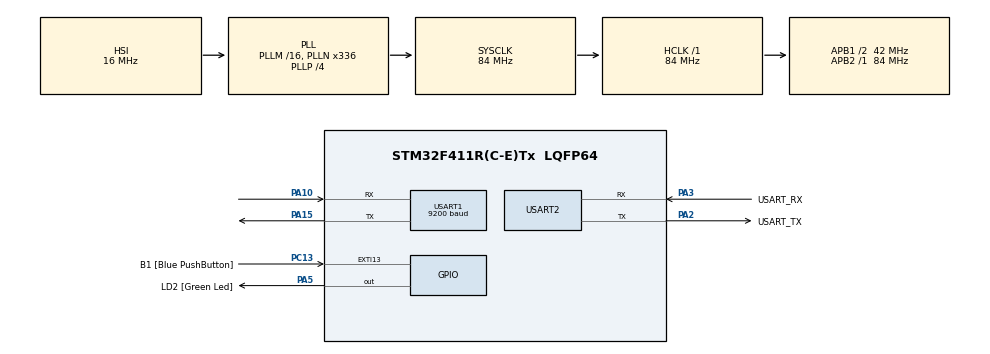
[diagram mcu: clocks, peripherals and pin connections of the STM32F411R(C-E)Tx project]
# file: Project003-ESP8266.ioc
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Mcu.Family=STM32F4
Mcu.Name=STM32F411R(C-E)Tx
Mcu.Package=LQFP64
NVIC.PriorityGroup=NVIC_PRIORITYGROUP_0
NVIC.USART1_IRQn=true\:0\:0\:false\:false\:true\:true\:true\:true
NVIC.USART2_IRQn=true\:0\:0\:false\:false\:true\:true\:true\:true
PA10.Mode=Asynchronous
PA10.Signal=USART1_RX
PA13.GPIO_Label=TMS
PA13.Mode=Serial_Wire
PA13.Signal=SYS_JTMS-SWDIO
PA14.GPIO_Label=TCK
PA14.Mode=Serial_Wire
PA14.Signal=SYS_JTCK-SWCLK
PA15.Mode=Asynchronous
PA15.Signal=USART1_TX
PA2.GPIO_Label=USART_TX
PA2.Mode=Asynchronous
PA2.Signal=USART2_TX
PA3.GPIO_Label=USART_RX
PA3.Mode=Asynchronous
PA3.Signal=USART2_RX
PA5.GPIO_Label=LD2 [Green Led]
PA5.Signal=GPIO_Output
PB3.GPIO_Label=SWO
PB3.Signal=SYS_JTDO-SWO
PC13-ANTI_TAMP.GPIO_Label=B1 [Blue PushButton]
PC13-ANTI_TAMP.GPIO_ModeDefaultEXTI=GPIO_MODE_IT_FALLING
PC13-ANTI_TAMP.Signal=GPXTI13
PC14-OSC32_IN.Mode=LSE-External-Oscillator
PC14-OSC32_IN.Signal=RCC_OSC32_IN
PC15-OSC32_OUT.Mode=LSE-External-Oscillator
PC15-OSC32_OUT.Signal=RCC_OSC32_OUT
PH0\ -\ OSC_IN.Mode=HSE-External-Clock-Source
PH0\ -\ OSC_IN.Signal=RCC_OSC_IN
PH1\ -\ OSC_OUT.Mode=HSE-External-Clock-Source
PH1\ -\ OSC_OUT.Signal=RCC_OSC_OUT
ProjectManager.HeapSize=0x200
ProjectManager.StackSize=0x400
ProjectManager.TargetToolchain=STM32CubeIDE
RCC.48MHZClocksFreq_Value=84000000
RCC.AHBFreq_Value=84000000
RCC.APB1CLKDivider=RCC_HCLK_DIV2
RCC.APB1Freq_Value=42000000
RCC.APB1TimFreq_Value=84000000
RCC.APB2Freq_Value=84000000
RCC.APB2TimFreq_Value=84000000
RCC.CortexFreq_Value=84000000
RCC.FLatency-AdvancedSettings=FLASH_LATENCY_2
RCC.HCLKFreq_Value=84000000
RCC.HSE_VALUE=8000000
RCC.HSI_VALUE=16000000
RCC.PLLN=336
RCC.PLLP=RCC_PLLP_DIV4
RCC.PWREXT_OverDrive=PWREXT_OverDrive_DESACTIVATED
RCC.SYSCLKFreq_VALUE=84000000
RCC.SYSCLKSource=RCC_SYSCLKSOURCE_PLLCLK
RCC.VCOOutputFreq_Value=336000000
USART1.BaudRate=9200
USART1.VirtualMode=VM_ASYNC
USART2.VirtualMode=VM_ASYNC
board=NUCLEO-F411RE

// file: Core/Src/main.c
/* USER CODE BEGIN Header */
/**
  ******************************************************************************
  * @file           : main.c
  * @brief          : Main program body
  ******************************************************************************
  * @attention
  *
  * Copyright (c) 2025 STMicroelectronics.
  * All rights reserved.
  *
  * This software is licensed under terms that can be found in the LICENSE file
  * in the root directory of this software component.
  * If no LICENSE file comes with this software, it is provided AS-IS.
  *
  ******************************************************************************
  */
/* USER CODE END Header */
#include "main.h"

UART_HandleTypeDef huart1;
UART_HandleTypeDef huart2;

void SystemClock_Config(void);
static void MX_GPIO_Init(void);
static void MX_USART2_UART_Init(void);
static void MX_USART1_UART_Init(void);

/* USER CODE BEGIN 0 */
#define BUF_SIZE 100
char buf1[BUF_SIZE], buf2[BUF_SIZE], temp_AT[BUF_SIZE]; // DMA Buffer
char dum1, dum2;
int head1 = 0, head2 = 0, tail1 = 0, tail2 = 0;
char stm_c[5] = { '0', }, app_c[5] = { '0', };
int stm_i = 0, app_i = 0;
int last_printe = 0;

int printe(char* str, int id) {
	if((HAL_GetTick() - last_printe) < 100) {
		return 0;
	}
	else {
		char temp_str[BUF_SIZE], temp_AT[BUF_SIZE];
		int str_len = strlen(str);
		sprintf(temp_str, "%s", str);
		temp_str[str_len++] = '\r';
		temp_str[str_len++] = '\n';
		temp_str[str_len] = '\0';
		if((str_len > 2) && (str_len < 100)) {
			HAL_UART_Transmit(&huart1, "AT+CIPSEND=", 11, 10);
			sprintf(temp_AT, "%d,%d\r\n", id, str_len);
			if(str_len < 10) {
				HAL_UART_Transmit(&huart1, temp_AT, 5, 10);
			}
			else {
				HAL_UART_Transmit(&huart1, temp_AT, 6, 10);
			}
			int n = str_len / 11;
			int i = 0;
			printf("loading..................................\r\n");
			for(i = 0; i < n; i++) {
				HAL_UART_Transmit(&huart1, temp_str + (i * 11), 11, 10);
			}
			HAL_UART_Transmit(&huart1, temp_str + (i * 11), str_len - (i * 11), 10);
		}
		last_printe = HAL_GetTick();
	}
	return 1;
}

void HAL_UART_RxCpltCallback(UART_HandleTypeDef *huart)
{
   if(huart == &huart1)
   {
	   if((dum1 != '\r') && (dum1 != '\n')) {
		   buf1[tail1++] = dum1;
		   HAL_UART_Transmit(&huart2, &dum1/*== buf1+t1-1*/, 1, 10);      // putty print
	   }

      if(dum1 == '\n')
      {
    	  if(tail1 != 0) {
    		  HAL_UART_Transmit(&huart2, "\r\n", 2, 10);
    		  buf1[tail1] = '\0';

    		  char comp_buf[BUF_SIZE];
    		  sprintf(comp_buf, "%s", buf1);
    		  //printf("buf1: %s | comp_buf: %s", buf1, comp_buf);
    		  if(!strncmp(comp_buf + 2, "CONNECT", 7)) {
    			  app_c[app_i++] = buf1[0];
    			  printf("connect app.\r\n");
    		  }

    		  if(!strncmp(comp_buf, "+IPD,", 5)) {
    			  char temp_val[BUF_SIZE];
    			  switch(comp_buf[9]) {												// Recieve MSG From Client
    				  case '0':														// Emergency (Not use in Server)
    					  break;
    				  case '1':														// Origin is xxx (Not use in Server)
    					  // Origin is xxx
    					  break;
    				  case '2':														// Destination is xxx
    					  // recieve 2xxx value ==> Destination is xxx
						  sprintf(temp_val, "%c%c%c%c", comp_buf[9], comp_buf[10], comp_buf[11], comp_buf[12]);
						  for(int i = 0; i < app_i; i++) {
							  while(!printe(temp_val, app_c[i]));
						  }
    					  break;
    				  case '3':														// Arrive at Destination (Not use in Server)
    					  break;
    				  case '4':														// Hall Sensor
    					  if(comp_buf[10] == '0') {
    						  // Unbuckle seat belt
    						  printf("Unbuckle seat belt\r\n");
    					  }
    					  else if(comp_buf[10] == '1') {
    						  // Buckle seat belt
    						  printf("Buckle seat belt\r\n");
    					  }
    					  break;
    				  case '5':														// Force Sensor
    					  if(comp_buf[10] == '0') {
    						  // Pressure X
    						  printf("Pressure X\r\n");
    					  }
    					  else if(comp_buf[10] == '1') {
    						  // Pressure O
    						  printf("Pressure O\r\n");
    					  }
    					  break;
    				  case '6':														// Heart Beat Sensor
    					  if(comp_buf[10] == '0') {
    						  // no finger
    						  printf("no finger\r\n");
    					  }
    					  else if(comp_buf[10] == '1'){
    						  // recieve 61xx value ==> normal
    						  printf("normal\r\n");
    					  }
    					  else if(comp_buf[10] == '2'){
    						  // recieve 62xx value ==> abnormal
    						  printf("abnormal\r\n");
    					  }
    					  break;
    				  case '7':														// Voltage Sensor (Not use in Server)
    					  break;
    				  case '8':														// STM Client
    					  stm_c[stm_i++] = app_c[--app_i];
    					  app_c[app_i] = '0';
    					  printf("not connect app. connect stm.\r\n");
    					  break;
    			  }
    		  }

    		  if(!strncmp(comp_buf + 2, "CLOSED", 6)) {
    			  if((app_i > 0) && (app_c[app_i - 1] == buf1[0])) {
    				  app_c[--app_i] = '0';
    				  printf("disconnect app.\r\n");
    			  }
    			  else if((stm_i > 0) && (stm_c[stm_i - 1] == buf1[0])) {
    				  stm_c[--stm_i] = '0';
    				  printf("disconnect stm.\r\n");
    			  }
    		  }
    		  for(int i = 0; i < stm_i; i++) {
    			  printf("i: %d, stm content: %c\r\n", i, stm_c[i]);
    		  }
    		  for(int i = 0; i < app_i; i++) {
    			  printf("i: %d, app content: %c\r\n", i, app_c[i]);
    		  }
    	  }

         tail1 = 0;
      }
      HAL_UART_Receive_IT(&huart1, &dum1, 1);         // interrupt chain
   }

   else if(huart == &huart2)
   {
      buf2[tail2++] = dum2;
      HAL_UART_Transmit(&huart2, &dum2, 1, 10); // terminal echo
      if(dum2 == '\r')  // CR : 0x0d
      {
         HAL_UART_Transmit(&huart2, "\n", 1, 10); // terminal echo

         buf2[tail2++] = '\n'; // == HAL_UART_Transmit(&huart1, "\n", 1, 10);
         HAL_UART_Transmit(&huart1, buf2, tail2, 10);   // AT Command
//         HAL_UART_Transmit(&huart1, "\n", 1, 10);
         tail2 = 0;
      }
      HAL_UART_Receive_IT(&huart2, &dum2, 1);
   }
}

void ESP8266_server_init(){
	/*HAL_UART_Transmit(&huart1, "AT+RST\r\n", 8, 10);					// RESET
	HAL_Delay(1000);*/

	HAL_UART_Transmit(&huart1, "AT+CWMODE=2", 11, 10);				// 1: CLIENT MODE, 2: SERVER MODE, 3: Multi mode
	HAL_UART_Transmit(&huart1, "\r\n", 2, 10);
	HAL_Delay(10);

	HAL_UART_Transmit(&huart1, "AT+CIPMUX=1", 11, 10);				// 0: single connection mode, 1: multi connection mode
	HAL_UART_Transmit(&huart1, "\r\n", 2, 10);
	HAL_Delay(10);

	HAL_UART_Transmit(&huart1, "AT+CIPSERVE", 11, 10);
	HAL_UART_Transmit(&huart1, "R=1,3000\r\n", 10, 10);		// SERVER setting (0: SERVER CLOSE, 1: SERVER OPEN)
	HAL_Delay(10);

	//while(!printe("8100"));

	/*HAL_UART_Transmit(&huart1, "AT+CIFSR", 11, 10);					// Show IP & MAC Address
	HAL_UART_Transmit(&huart1, "\r\n", 2, 10);
	HAL_Delay(10);*/
}
/* USER CODE END 0 */

int main(void)
{

  /* MCU Configuration--------------------------------------------------------*/

  /* Reset of all peripherals, Initializes the Flash interface and the Systick. */
  HAL_Init();

  /* Configure the system clock */
  SystemClock_Config();

  /* Initialize all configured peripherals */
  MX_GPIO_Init();
  MX_USART2_UART_Init();
  MX_USART1_UART_Init();
  /* USER CODE BEGIN 2 */
  ProgramStart("ESP8266 Test - Start");
  UART_Start_Receive_IT(&huart1, &dum1, 1);
  UART_Start_Receive_IT(&huart2, &dum2, 1);
  //ESP8266_server_init();

  /* USER CODE END 2 */

  /* Infinite loop */
  while (1)
  {

  }
}

void SystemClock_Config(void)
{
  RCC_OscInitTypeDef RCC_OscInitStruct = {0};
  RCC_ClkInitTypeDef RCC_ClkInitStruct = {0};

  /** Configure the main internal regulator output voltage
  */
  __HAL_RCC_PWR_CLK_ENABLE();
  __HAL_PWR_VOLTAGESCALING_CONFIG(PWR_REGULATOR_VOLTAGE_SCALE1);

  /** Initializes the RCC Oscillators according to the specified parameters
  * in the RCC_OscInitTypeDef structure.
  */
  RCC_OscInitStruct.OscillatorType = RCC_OSCILLATORTYPE_HSI;
  RCC_OscInitStruct.HSIState = RCC_HSI_ON;
  RCC_OscInitStruct.HSICalibrationValue = RCC_HSICALIBRATION_DEFAULT;
  RCC_OscInitStruct.PLL.PLLState = RCC_PLL_ON;
  RCC_OscInitStruct.PLL.PLLSource = RCC_PLLSOURCE_HSI;
  RCC_OscInitStruct.PLL.PLLM = 16;
  RCC_OscInitStruct.PLL.PLLN = 336;
  RCC_OscInitStruct.PLL.PLLP = RCC_PLLP_DIV4;
  RCC_OscInitStruct.PLL.PLLQ = 4;
  if (HAL_RCC_OscConfig(&RCC_OscInitStruct) != HAL_OK)
  {
    Error_Handler();
  }

  /** Initializes the CPU, AHB and APB buses clocks
  */
  RCC_ClkInitStruct.ClockType = RCC_CLOCKTYPE_HCLK|RCC_CLOCKTYPE_SYSCLK
                              |RCC_CLOCKTYPE_PCLK1|RCC_CLOCKTYPE_PCLK2;
  RCC_ClkInitStruct.SYSCLKSource = RCC_SYSCLKSOURCE_PLLCLK;
  RCC_ClkInitStruct.AHBCLKDivider = RCC_SYSCLK_DIV1;
  RCC_ClkInitStruct.APB1CLKDivider = RCC_HCLK_DIV2;
  RCC_ClkInitStruct.APB2CLKDivider = RCC_HCLK_DIV1;

  if (HAL_RCC_ClockConfig(&RCC_ClkInitStruct, FLASH_LATENCY_2) != HAL_OK)
  {
    Error_Handler();
  }
}

static void MX_USART1_UART_Init(void)
{

  huart1.Instance = USART1;
  huart1.Init.BaudRate = 9200;
  huart1.Init.WordLength = UART_WORDLENGTH_8B;
  huart1.Init.StopBits = UART_STOPBITS_1;
  huart1.Init.Parity = UART_PARITY_NONE;
  huart1.Init.Mode = UART_MODE_TX_RX;
  huart1.Init.HwFlowCtl = UART_HWCONTROL_NONE;
  huart1.Init.OverSampling = UART_OVERSAMPLING_16;
  if (HAL_UART_Init(&huart1) != HAL_OK)
  {
    Error_Handler();
  }

}

static void MX_USART2_UART_Init(void)
{

  huart2.Instance = USART2;
  huart2.Init.BaudRate = 115200;
  huart2.Init.WordLength = UART_WORDLENGTH_8B;
  huart2.Init.StopBits = UART_STOPBITS_1;
  huart2.Init.Parity = UART_PARITY_NONE;
  huart2.Init.Mode = UART_MODE_TX_RX;
  huart2.Init.HwFlowCtl = UART_HWCONTROL_NONE;
  huart2.Init.OverSampling = UART_OVERSAMPLING_16;
  if (HAL_UART_Init(&huart2) != HAL_OK)
  {
    Error_Handler();
  }

}

static void MX_GPIO_Init(void)
{
  GPIO_InitTypeDef GPIO_InitStruct = {0};

  /* GPIO Ports Clock Enable */
  __HAL_RCC_GPIOC_CLK_ENABLE();
  __HAL_RCC_GPIOH_CLK_ENABLE();
  __HAL_RCC_GPIOA_CLK_ENABLE();
  __HAL_RCC_GPIOB_CLK_ENABLE();

  /*Configure GPIO pin Output Level */
  HAL_GPIO_WritePin(LD2_GPIO_Port, LD2_Pin, GPIO_PIN_RESET);

  /*Configure GPIO pin : B1_Pin */
  GPIO_InitStruct.Pin = B1_Pin;
  GPIO_InitStruct.Mode = GPIO_MODE_IT_FALLING;
  GPIO_InitStruct.Pull = GPIO_NOPULL;
  HAL_GPIO_Init(B1_GPIO_Port, &GPIO_InitStruct);

  /*Configure GPIO pin : LD2_Pin */
  GPIO_InitStruct.Pin = LD2_Pin;
  GPIO_InitStruct.Mode = GPIO_MODE_OUTPUT_PP;
  GPIO_InitStruct.Pull = GPIO_NOPULL;
  GPIO_InitStruct.Speed = GPIO_SPEED_FREQ_LOW;
  HAL_GPIO_Init(LD2_GPIO_Port, &GPIO_InitStruct);

}

void Error_Handler(void)
{
  __disable_irq();
  while (1)
  {
  }
}
